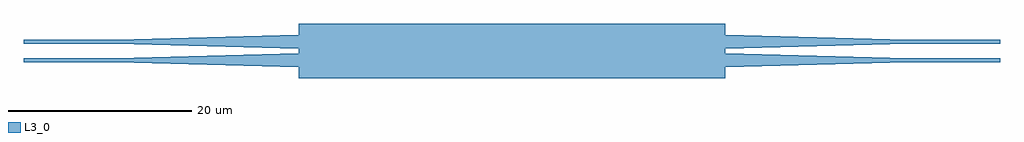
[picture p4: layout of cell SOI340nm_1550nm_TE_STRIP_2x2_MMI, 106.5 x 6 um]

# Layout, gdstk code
import gdstk
lib = gdstk.Library(unit=1e-6, precision=1e-09)
def R(c, l, rs):  # rectangles x0, y0, x1, y1
    for r in rs: c.add(gdstk.rectangle(r[:2], r[2:], *l))
def P(c, l, *ps):  # polygons
    for p in ps: c.add(gdstk.Polygon(p, *l))
L3_0 = (3, 0)

soi340nm_1550nm_te_strip = lib.new_cell('SOI340nm_1550nm_TE_STRIP_2x2_MMI')
R(soi340nm_1550nm_te_strip, L3_0, [(-23.25,-3,23.25,3), (-53.25,-1.24,-43.25,-0.79), (43.25,-1.24,53.25,-0.79), (-53.25,0.79,-43.25,1.24), (43.25,0.79,53.25,1.24)])
P(soi340nm_1550nm_te_strip, L3_0, [(-23.25,0.265),(-43.25,0.79),(-43.25,1.24),(-23.25,1.765)],
  [(-23.25,-1.765),(-43.25,-1.24),(-43.25,-0.79),(-23.25,-0.265)],
  [(23.25,0.265),(23.25,1.765),(43.25,1.24),(43.25,0.79)],
  [(23.25,-1.765),(23.25,-0.265),(43.25,-0.79),(43.25,-1.24)])

lib.write_gds('SOI340nm_1550nm_TE_STRIP_2x2_MMI.gds')
